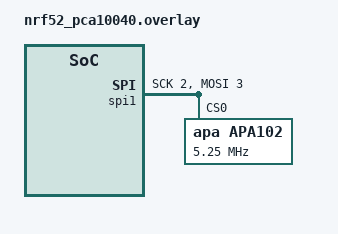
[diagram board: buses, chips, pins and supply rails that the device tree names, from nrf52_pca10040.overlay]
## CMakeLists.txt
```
cmake_minimum_required(VERSION 3.13.1)
include($ENV{ZEPHYR_BASE}/cmake/app/boilerplate.cmake NO_POLICY_SCOPE)
project(ly10_zephyr_fw)

FILE(GLOB app_sources src/*.c)
target_sources(app PRIVATE
  ${app_sources}
  )

zephyr_library_include_directories($ENV{ZEPHYR_BASE}/samples/bluetooth)
```

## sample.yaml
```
sample:
  description: TBD
  name: TBD
tests:
  test:
    harness: bluetooth
    platform_whitelist: qemu_cortex_m3 qemu_x86 nrf52_pca10040
    tags: bluetooth LED
    depends_on: spi
```

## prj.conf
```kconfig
CONFIG_BT=y
CONFIG_BT_PERIPHERAL=y
CONFIG_BT_GATT_DIS=y
CONFIG_BT_GATT_DIS_PNP=n
CONFIG_BT_DEVICE_NAME="Demo Board Brien's Desk"
```

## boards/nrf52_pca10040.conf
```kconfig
CONFIG_POLL=y
CONFIG_OPENOCD_SUPPORT=y

CONFIG_GPIO=y

CONFIG_SPI=y
CONFIG_NRFX_SPIM=y
CONFIG_SPI_1=y
CONFIG_SPI_1_OP_MODES=1

CONFIG_LED_STRIP=y
CONFIG_APA102_STRIP=y
```

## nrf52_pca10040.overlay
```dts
/*
 * Copyright (c) 2018 Nordic Semiconductor ASA
 *
 * SPDX-License-Identifier: Apache-2.0
 */

&spi1 {

	status = "ok";
	sck-pin = <2>;
	mosi-pin = <3>;


	apa102@0 {

		compatible = "apa,apa102";
		reg = <0>;
		spi-max-frequency = <5250000>;
		label = "APA102";
	};
};
```

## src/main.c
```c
/* main.c - Application main entry point */


//
// Confidential!!!
// Source code property of Blue Clover Devices.
//
// Demonstration, distribution, replication, or other use of the
// source codes is NOT permitted without prior written consent
// from Blue Clover Devices.
//

#include <zephyr/types.h>
#include <stddef.h>
#include <string.h>
#include <errno.h>
#include <misc/printk.h>
#include <misc/byteorder.h>
#include <bluetooth/bluetooth.h>
#include <bluetooth/hci.h>
#include <bluetooth/conn.h>
#include <bluetooth/uuid.h>
#include <bluetooth/gatt.h>
#include <led_strip.h>
#include <device.h>
#include <spi.h>
#include <misc/util.h>
#include <controller/include/ll.h>
#include <gpio.h>
#include <zephyr.h>

#define GPIO_OUT_DRV_NAME "GPIO_0"
#define GPIO_PWR_EN  25
#define STRIP_NUM_LEDS 4
#define DELAY_TIME K_MSEC(100)

static const struct led_rgb colors[] = {
	{ .r = 0xff, .g = 0x00, .b = 0x00, }, /* red */
	{ .r = 0x00, .g = 0xff, .b = 0x00, }, /* green */
	{ .r = 0x00, .g = 0x00, .b = 0xff, }, /* blue */
};

static const struct led_rgb black = {
	.r = 0x00,
	.g = 0x00,
	.b = 0x00,
};

struct led_rgb strip_colors[STRIP_NUM_LEDS];

const struct led_rgb *color_at(size_t time, size_t i)
{
	size_t rgb_start = time % STRIP_NUM_LEDS;

	if (rgb_start <= i && i < rgb_start + ARRAY_SIZE(colors)) {
		return &colors[i - rgb_start];
	} else {
		return &black;
	}
}


static const struct bt_data ad[] = {
	BT_DATA_BYTES(BT_DATA_FLAGS, (BT_LE_AD_GENERAL | BT_LE_AD_NO_BREDR)),
	BT_DATA_BYTES(BT_DATA_UUID16_ALL, 0x0a, 0x18),
};

static void connected(struct bt_conn *conn, u8_t err)
{
	if (err) {
		printk("Connection failed (err %u)\n", err);
	} else {
		printk("Connected\n");
	}
}

static void disconnected(struct bt_conn *conn, u8_t reason)
{
	printk("Disconnected (reason %u)\n", reason);
}

static struct bt_conn_cb conn_callbacks = {
	.connected = connected,
	.disconnected = disconnected,
};

void main(void)
{



	struct device *gpio_out_dev;
	int ret;


	gpio_out_dev = device_get_binding(GPIO_OUT_DRV_NAME);
	if (!gpio_out_dev) {
		printk("Cannot find %s!\n", GPIO_OUT_DRV_NAME);
		return;
	}



	/* Bluetooth */
	int err;

	err = bt_enable(NULL);
	if (err) {
		printk("Bluetooth init failed (err %d)\n", err);
		return;
	}

	printk("BCD Demo Board Bluetooth initialized\n");

	bt_conn_cb_register(&conn_callbacks);

	err = bt_le_adv_start(BT_LE_ADV_CONN_NAME, ad, ARRAY_SIZE(ad), NULL, 0);
	if (err) {
		printk("Advertising failed to start (err %d)\n", err);
		return;
	}

	printk("Advertising successfully started on the Demo Board\n");
    
        // Get MAC Address and store in Memory
    u8_t * temp_bd_addr = (u8_t *)ll_addr_get(1, NULL); // '1' as first parameter indicates we are seeking the 'random' BD address
    u8_t volatile * bd_addr = (u8_t *)0x20005000;

    for (int i = 0; i < 6; i++) {
        bd_addr[i] = temp_bd_addr[i];
    }

	printk("Random BD Address: %02x:%02x:%02x:%02x:%02x:%02x\n",
           bd_addr[5], bd_addr[4], bd_addr[3],
           bd_addr[2], bd_addr[1], bd_addr[0]);


	/* GPIO output */
	ret = gpio_pin_configure(gpio_out_dev, GPIO_PWR_EN, (GPIO_DIR_OUT));

		printk("Turning on 5V_LED Rail %d\n", GPIO_PWR_EN);

		ret = gpio_pin_write(gpio_out_dev, GPIO_PWR_EN, 1);




	/* APA102 Strip */
	struct device *strip;
		size_t i, time;

	strip = device_get_binding(DT_APA_APA102_0_LABEL);

	printk("Displaying pattern on strip\n");
	time = 0;

	while (1) {

		for (i = 0; i < STRIP_NUM_LEDS; i++) {

			memcpy(&strip_colors[i], color_at(time, i), sizeof(strip_colors[i]));

			}

			led_strip_update_rgb(strip, strip_colors, STRIP_NUM_LEDS);
			k_sleep(DELAY_TIME);
			time++;
		}

}
```
